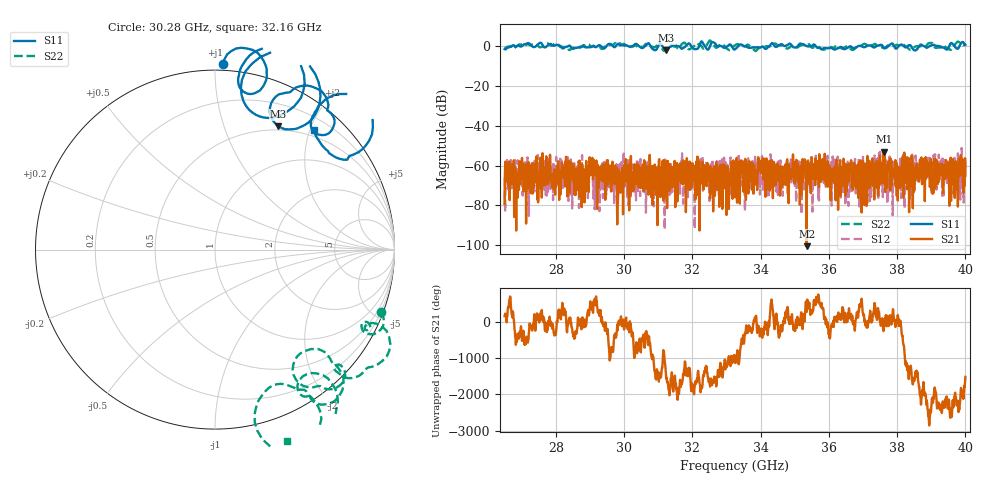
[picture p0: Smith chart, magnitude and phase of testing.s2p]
#GHz S RI 50
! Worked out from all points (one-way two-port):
!   1351 points, 26.5 GHz to 40 GHz, reference 50 ohm
!   highest |S21| = -53.00 dB at 37.63 GHz (marker M1); lowest = -100.4 dB at 35.35 GHz (marker M2)
!   lowest |S11| = -2.2 dB at 31.24 GHz (marker M3), VSWR 7.79, Z = 22.6 + j77 ohm
!   |S11| at or under -10 dB: nowhere
!   |S22| runs from -2.5 to 2.8 dB; largest |S21 - S12| = 0.0034
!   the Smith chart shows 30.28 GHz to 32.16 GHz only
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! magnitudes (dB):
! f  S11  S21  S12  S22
! 26.5 GHz  -1.6  -79.2  -66.1  -1.4
! 26.58 GHz  -0.8  -62.1  -59.4  -0.5
! 26.84 GHz  -0.3  -92.6  -64.3  -0.2
! 27.78 GHz  0.6  -68.8  -63.6  1.2
! 27.92 GHz  0.2  -64.0  -77.3  0.5
! 28.27 GHz  -0.6  -70.5  -66.1  -1.1
! 28.75 GHz  -0.3  -71.0  -59.6  -0.5
! 29.08 GHz  -0.1  -57.3  -62.3  -0.1
! 29.85 GHz  0.7  -68.5  -59.2  1.1
! 30.01 GHz  0.2  -59.7  -60.1  1.0
! 30.15 GHz  -0.2  -82.4  -66.5  -0.4
! 31 GHz  0.1  -75.7  -61.6  0.0
! 31.24 GHz  -2.2  -57.7  -60.0  -1.8
! 33.25 GHz  -1.7  -58.6  -59.7  0.3
! 35.35 GHz  -0.1  -100.4  -72.2  0.5
! 35.5 GHz  -0.1  -55.9  -59.5  -0.7
! 36.2 GHz  -1.7  -77.4  -60.1  0.0
! 36.54 GHz  -1.0  -65.9  -60.1  -0.1
! 37.08 GHz  -0.3  -62.4  -60.5  0.9
! 37.63 GHz  -1.1  -53.0  -66.0  -1.0
! 37.75 GHz  0.1  -58.7  -64.8  0.2
! 40 GHz  0.5  -65.1  -57.2  0.7
